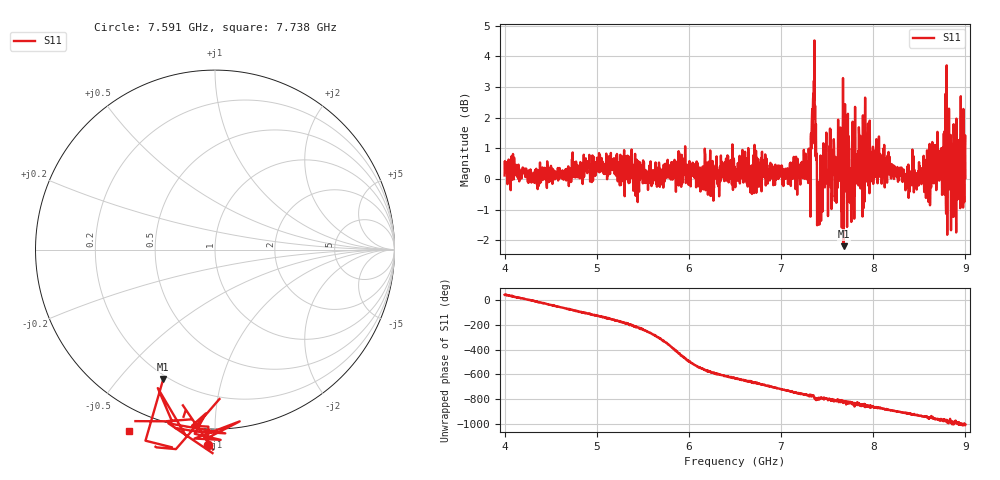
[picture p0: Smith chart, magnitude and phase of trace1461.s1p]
! Created with skrf 1.8.0 (http://scikit-rf.org).
# Hz S RI R 50.0
!freq ReS11 ImS11
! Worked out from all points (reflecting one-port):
!   1601 points, 4 GHz to 9 GHz, reference 50 ohm
!   lowest |S11| = -2.2 dB at 7.678 GHz (marker M1), VSWR 7.97, Z = 9.09 - j33.1 ohm
!   phase of S11 starts at 44 deg and turns -1051 deg over the sweep
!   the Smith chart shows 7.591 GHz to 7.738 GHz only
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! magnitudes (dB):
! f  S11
! 4 GHz  0.1
! 4.625 GHz  0.0
! 4.894 GHz  0.3
! 5.25 GHz  -0.2
! 5.875 GHz  0.1
! 6.5 GHz  0.0
! 7.125 GHz  0.1
! 7.294 GHz  -0.1
! 7.347 GHz  2.6
! 7.362 GHz  4.5
! 7.4 GHz  -0.9
! 7.416 GHz  -1.5
! 7.478 GHz  0.3
! 7.609 GHz  0.5
! 7.669 GHz  1.2
! 7.678 GHz  -2.2
! 7.688 GHz  1.3
! 7.75 GHz  0.3
! 7.928 GHz  0.6
! 8.375 GHz  0.0
! 8.441 GHz  -0.4
! 8.594 GHz  0.4
! 8.656 GHz  1.1
! 8.766 GHz  1.5
! 8.8 GHz  0.4
! 8.903 GHz  2.0
! 8.972 GHz  0.6
! 9 GHz  0.0
